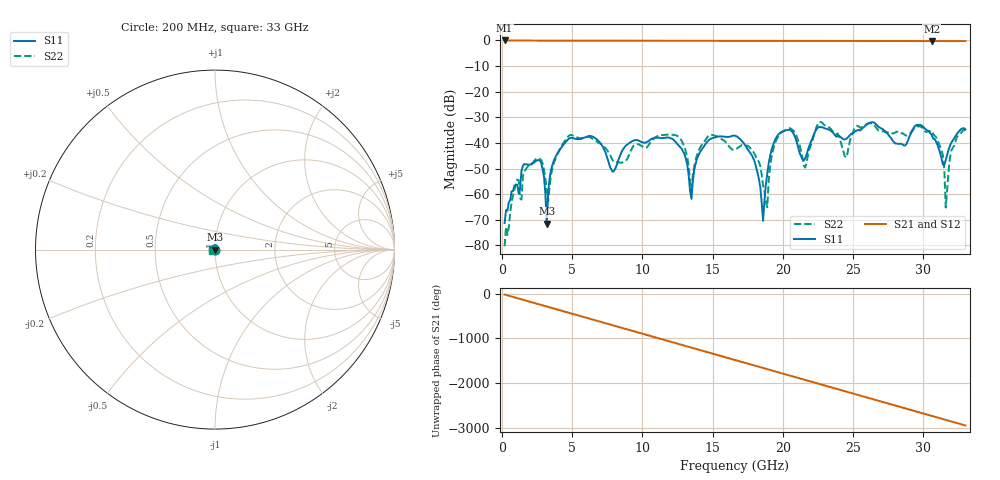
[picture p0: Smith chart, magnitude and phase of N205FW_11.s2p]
# GHZ S RI R 50
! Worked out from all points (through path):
!   329 points, 200 MHz to 33 GHz, reference 50 ohm
!   highest |S21| = -0.02 dB at 200 MHz (marker M1); lowest = -0.3 dB at 30.6 GHz (marker M2)
!   group delay of S21, straight-line fit = 248 ps
!   lowest |S11| = -71.5 dB at 3.2 GHz (marker M3), VSWR 1.00, Z = 50 - j0.0168 ohm
!   |S11| at or under -10 dB: start of sweep to end of sweep
!   |S22| runs from -80.3 to -31.8 dB; largest |S21 - S12| = 0.0022
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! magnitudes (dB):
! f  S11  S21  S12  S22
! 200 MHz  -71.3  0.0  0.0  -80.3
! 1.1 GHz  -56.3  0.0  0.0  -54.3
! 2.6 GHz  -46.6  -0.1  -0.1  -46.1
! 3.2 GHz  -71.5  -0.1  -0.1  -58.1
! 3.7 GHz  -47.0  -0.1  -0.1  -48.1
! 5.7 GHz  -38.3  -0.1  -0.1  -38.1
! 7.9 GHz  -51.3  -0.1  -0.1  -46.9
! 11.2 GHz  -38.0  -0.1  -0.1  -37.1
! 13.5 GHz  -61.9  -0.2  -0.2  -58.3
! 14.7 GHz  -39.1  -0.2  -0.2  -37.4
! 16.6 GHz  -37.2  -0.2  -0.2  -42.7
! 18 GHz  -47.3  -0.2  -0.2  -44.3
! 18.6 GHz  -70.4  -0.2  -0.2  -56.7
! 18.9 GHz  -52.0  -0.2  -0.2  -65.1
! 19.6 GHz  -37.4  -0.2  -0.2  -38.3
! 22.1 GHz  -38.3  -0.2  -0.2  -39.2
! 27.6 GHz  -37.4  -0.2  -0.2  -35.8
! 30.6 GHz  -36.9  -0.3  -0.3  -35.2
! 31.4 GHz  -48.4  -0.3  -0.3  -44.9
! 31.6 GHz  -46.7  -0.3  -0.3  -65.2
! 32 GHz  -39.9  -0.3  -0.3  -43.0
! 33 GHz  -34.7  -0.3  -0.3  -35.2
